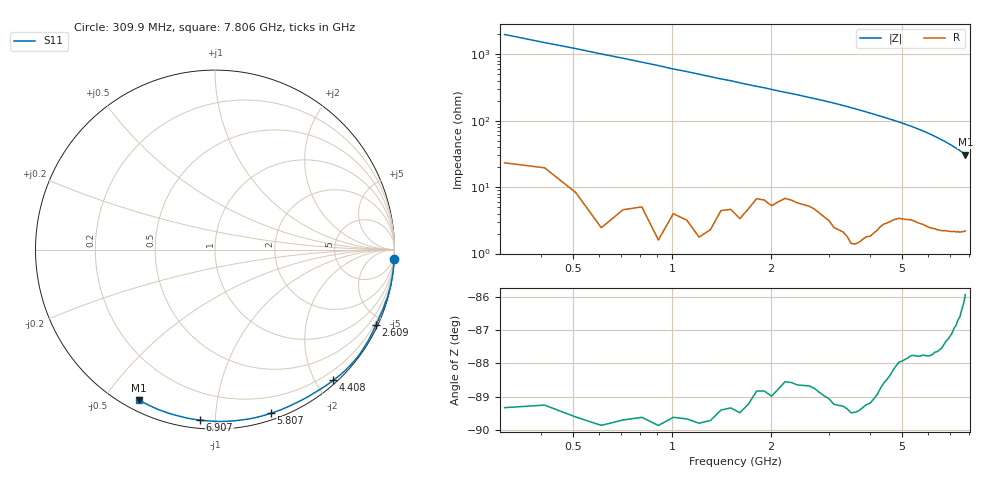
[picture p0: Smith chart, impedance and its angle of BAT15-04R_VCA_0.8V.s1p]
! Infineon Technologies  Discrete & RF Semiconductors
! BAT15-04R
! VCA = 0.8 V
! One-Port S-Parameters
# Hz  S  MA  R  50
!f  S11
!Hz  Mag  Ang
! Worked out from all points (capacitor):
!   76 points, 309.9 MHz to 7.806 GHz, reference 50 ohm
!   read as one part to ground: C = 259 fF near 309.9 MHz
!   lowest |Z| = 30.8 ohm at 7.806 GHz (marker M1)
!   S11 on the Smith chart (normalised r, x): 309.9 MHz: 0, -40; 2.609 GHz: 0.10, -4.48; 4.408 GHz: 0.06, -2.25; 5.807 GHz: 0.05, -1.40; 6.907 GHz: 0.04, -0.91; 7.806 GHz: 0.04, -0.62
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3.0985e8  0.9994 -2.9
9.0955e8  0.9997 -8.5
1.30935e9  0.9989 -12.4
1.6092e9  0.9976 -15.3
2.009e9  0.9942 -19.2
2.2089e9  0.9909 -21.2
2.6087e9  0.9902 -25.2
2.90855e9  0.9916 -28.3
3.2084e9  0.9932 -31.6
3.50825e9  0.9948 -35.3
3.70815e9  0.9938 -38.0
4.10795e9  0.9889 -43.5
4.4078e9  0.9819 -47.8
4.70765e9  0.9755 -52.3
5.0075e9  0.9702 -56.9
5.30735e9  0.9663 -62.0
5.50725e9  0.9652 -65.6
5.8071e9  0.9635 -71.2
6.007e9  0.9631 -75.2
6.2069e9  0.9617 -79.4
6.50675e9  0.959 -86.0
6.70665e9  0.9564 -90.5
6.90655e9  0.9537 -95.1
7.10645e9  0.9513 -99.7
7.30635e9  0.9484 -104.5
7.50625e9  0.9456 -109.3
7.70615e9  0.9414 -114.2
7.8061e9  0.9385 -116.7
